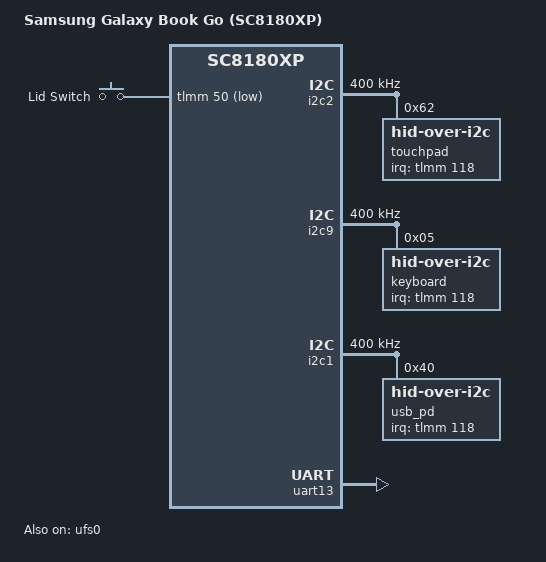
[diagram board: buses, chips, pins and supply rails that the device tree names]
/*
 * Samsung Galaxy Book Go — Snapdragon 8cx Gen 2 (SC8180XP)
 * Board Device Tree Source
 *
 * WORK IN PROGRESS
 * ACPI platform: CLS08180 (Samsung Clamshell SC8180XP)
 * SIDS: SC8180XP, SIDV: 0x00020001
 *
 *
 * Input devices (from DSDT):
 *   \_SB.I2C9.ECKB  keyboard  SSEC0001/PNP0C50  addr 0x05
 *   \_SB.I2C2.ECTC  touchpad  SAM060B           addr 0x62
 *   \_SB.I2C1.TCPD  USB-C PD  SSTP0001/PNP0C50  addr 0x40
 */

/dts-v1/;

#include "sc8180xp.dtsi"
#include <dt-bindings/gpio/gpio.h>
#include <dt-bindings/input/input.h>
#include <dt-bindings/interrupt-controller/irq.h>

/ {
	model = "Samsung Galaxy Book Go (SC8180XP)";
	compatible = "samsung,galaxy-book-go-sc8180xp", "qcom,sc8180xp";

	aliases {
		serial0 = &uart13;
		i2c0    = &i2c1;
		i2c1    = &i2c2;
		i2c4    = &i2c5;
		i2c5    = &i2c6;
		i2c8    = &i2c9;
	};

	/*
	 * Early console — DBG2 table entry 0:
	 *   Type 0x8000/0x0011 = SBSA UART, base 0x00A90000
	 * Kernel cmdline must include:
	 *   console=ttyMSM0,115200n8 efi=noruntime
	 */
	chosen {
		stdout-path = "serial0:115200n8";
	};

	/*
	 * Lid switch — DSDT \_SB.LID0 (PNP0C0D)
	 * LIDR field reads GPIO pin 0x32 = 50 on GIO0 (TLMM)
	 */
	lid-switch {
		compatible = "gpio-keys";
		label = "Lid";

		lid {
			label = "Lid Switch";
			gpios = <&tlmm 50 GPIO_ACTIVE_LOW>;
			linux,input-type = <EV_SW>;
			linux,code = <SW_LID>;
			wakeup-source;
			debounce-interval = <50>;
		};
	};
};

/* ====================================================================
 * Additional pinctrl states needed by board devices
 * (dtsi already defines i2c2, i2c9, uart13 states)
 * ==================================================================== */
&tlmm {
	/* I2C1 pins (USB-C PD controller) — verify from schematic */
	i2c1_default: i2c1-default-state {
		pins = "gpio55", "gpio56";
		function = "qup1";
		drive-strength = <2>;
		bias-disable;
	};
	i2c1_sleep: i2c1-sleep-state {
		pins = "gpio55", "gpio56";
		function = "gpio";
		drive-strength = <2>;
		bias-pull-up;
	};

	/* I2C5 pins — verify from schematic */
	i2c5_default: i2c5-default-state {
		pins = "gpio85", "gpio86";
		function = "qup5";
		drive-strength = <2>;
		bias-disable;
	};
	i2c5_sleep: i2c5-sleep-state {
		pins = "gpio85", "gpio86";
		function = "gpio";
		drive-strength = <2>;
		bias-pull-up;
	};

	/* I2C6 pins — verify from schematic */
	i2c6_default: i2c6-default-state {
		pins = "gpio95", "gpio96";
		function = "qup6";
		drive-strength = <2>;
		bias-disable;
	};
	i2c6_sleep: i2c6-sleep-state {
		pins = "gpio95", "gpio96";
		function = "gpio";
		drive-strength = <2>;
		bias-pull-up;
	};
};

/* ====================================================================
 * I2C2 — touchpad (ECTC, SAM060B)
 * DSDT: addr 0x62, 400 kHz, GPIO 118 rising edge (TLMM, in-range)
 * ==================================================================== */
&i2c2 {
	status = "okay";
	clock-frequency = <400000>;

	touchpad@62 {
		compatible = "hid-over-i2c";
		reg = <0x62>;
		interrupt-parent = <&tlmm>;
		interrupts = <118 IRQ_TYPE_EDGE_RISING>;
		pinctrl-names = "default";
		pinctrl-0 = <&tp_irq_default>;
		wakeup-source;
	};
};

/* ====================================================================
 * I2C9 — keyboard (ECKB, SSEC0001/PNP0C50)
 * DSDT: addr 0x05, 400 kHz, HID descriptor @ 0x0020
 * GPIO 640 interrupt — PMIC GPIO, NOT a TLMM pin.
 *
 * PLACEHOLDER: the interrupt below uses GPIO 118 as a stub so the DTS
 * compiles and the I2C bus initialises. The keyboard will not generate
 * interrupts until you replace this with the correct PMIC GPIO.
 * ==================================================================== */
&i2c9 {
	status = "okay";
	clock-frequency = <400000>;

	keyboard@5 {
		compatible = "hid-over-i2c";
		reg = <0x05>;
		hid-descr-addr = <0x0020>;
		/* PLACEHOLDER — replace with PMIC GPIO once identified */
		interrupt-parent = <&tlmm>;
		interrupts = <118 IRQ_TYPE_EDGE_RISING>;
		wakeup-source;
	};
};

/* ====================================================================
 * I2C1 — USB-C PD controller (TCPD, SSTP0001/PNP0C50)
 * DSDT: addr 0x40, 400 kHz, HID descriptor @ 0x000E
 * GPIO 448 interrupt — also a PMIC GPIO (exceeds TLMM range of 0-174)
 * Same resolution process as keyboard GPIO above.
 * ==================================================================== */
&i2c1 {
	status = "okay";
	clock-frequency = <400000>;

	usb_pd@40 {
		compatible = "hid-over-i2c";
		reg = <0x40>;
		hid-descr-addr = <0x000e>;
		/* PLACEHOLDER — replace with PMIC GPIO once identified */
		interrupt-parent = <&tlmm>;
		interrupts = <118 IRQ_TYPE_EDGE_RISING>;
	};
};

/* ====================================================================
 * Debug UART — GENI SE @ 0x00A90000
 * DBG2: SBSA UART, address 0x00A90000
 * Console: ttyMSM0 at 115200
 * ==================================================================== */
&uart13 {
	status = "okay";
};

/* ====================================================================
 * UFS internal storage — from DSDT UFS0
 * Voltage rails are PMIC-dependent; stub references below.
 * Enable after SPMI/PMIC bringup and rail name confirmation.
 * ==================================================================== */
&ufs0 {
	status = "okay";
	/*
	 * TODO: replace stub regulator references with real PMIC rails.
	 * Typical SC8180XP rail mapping:
	 *   vcc   -> PM8150 L17 (2.95 V)
	 *   vccq  -> PM8150 L6  (1.2 V)
	 *   vccq2 -> PM8150 S4  (1.8 V)
	 * These must be defined in the SPMI PMIC subtree first.
	 */
};

/* ====================================================================
 * WHAT STILL NEEDS RESOLVING BEFORE FULL FUNCTIONALITY
 * ====================================================================
 *
 * CRITICAL (blocks keyboard interrupt):
 *   - Identify PMIC GPIO for keyboard IRQ (ACPI GPIO 640 / 0x280)
 *     and touchpad IRQ (placeholder; GPIO 118 is correct for touchpad)
 *   - Add SPMI PMIC subtree (PM8150 + PM8150L) to this file
 *     Required for: all voltage regulators, PMIC GPIOs, battery
 *
 * NEEDED FOR DISPLAY:
 *   - DSI panel timings and panel compatible string
 *   - Adreno 685 GPU node (gpu0 in DSDT, 51 IOMMU mappings in IORT)
 *   - PMIC display rails (PM8150L LDOs)
 *
 * NEEDED FOR WIFI:
 *   - Enable pcie0 and confirm PCIe link comes up
 *   - linux-firmware package: wcn* or qca* blobs
 *
 * NEEDED FOR AUDIO:
 *   - ADSP/CDSP nodes (IORT: \_SB.ADSP.SLM1.ADCM → SMMU0)
 *   - QCOM APR + audio graph bindings
 *
 * PIN VERIFICATION NEEDED:
 *   - I2C1 SCL/SDA (currently gpio55/gpio56 — confirm from schematic)
 *   - I2C2 SCL/SDA (currently gpio15/gpio16 — confirm from schematic)
 *   - I2C9 SCL/SDA (currently gpio47/gpio48 — confirm from schematic)
 *   - UART13 TX/RX  (currently gpio46/gpio47 — confirm from schematic)
 *   - I2C5 SCL/SDA (currently gpio85/gpio86 — confirm from schematic)
 *   - I2C6 SCL/SDA (currently gpio95/gpio96 — confirm from schematic)
 * ==================================================================== */
